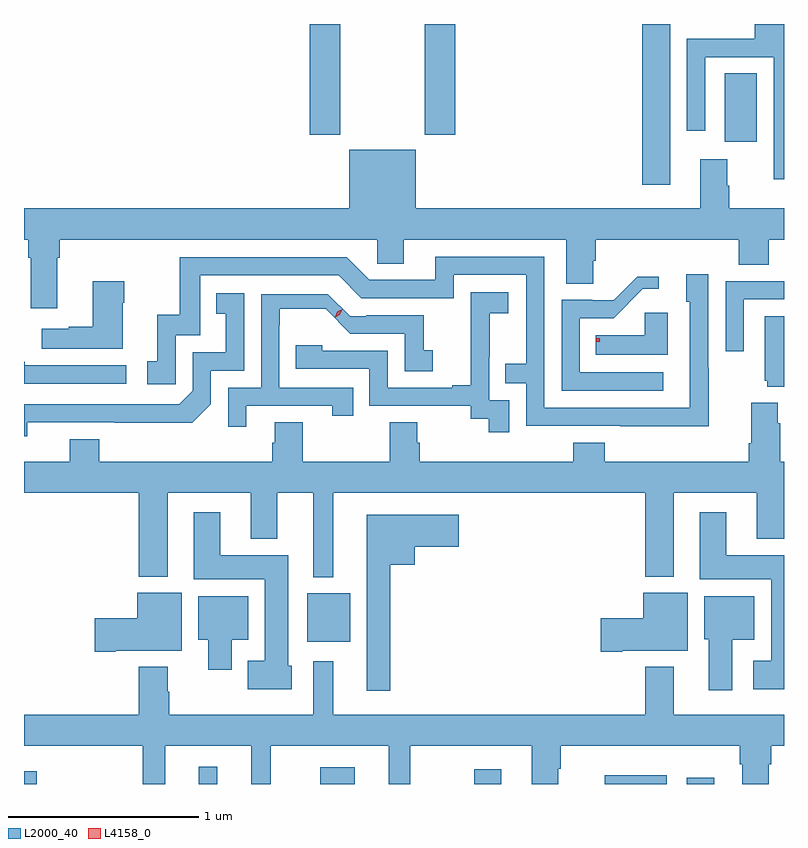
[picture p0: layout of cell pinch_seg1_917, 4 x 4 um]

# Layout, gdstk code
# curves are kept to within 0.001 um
import gdstk
lib = gdstk.Library(unit=1e-6, precision=1e-09)
def R(c, l, rs):  # rectangles x0, y0, x1, y1
    for r in rs: c.add(gdstk.rectangle(r[:2], r[2:], *l))
def P(c, l, *ps):  # polygons
    for p in ps: c.add(gdstk.Polygon(p, *l))
L2000_40 = (2000, 40)
L4158_0 = (4158, 0)

pinch_seg1_917 = lib.new_cell('pinch_seg1_917')
R(pinch_seg1_917, L2000_40, [(124.356,531.551,124.422,531.619), (125.277,531.551,125.374,531.643), (125.915,531.551,126.097,531.64), (126.727,531.551,126.868,531.628), (127.413,531.551,127.738,531.598), (127.844,531.551,127.99,531.583), (125.846,532.301,126.073,532.555), (127.61,534.705,127.756,535.551), (128.045,534.93,128.212,535.292), (125.861,534.969,126.021,535.551), (126.466,534.969,126.626,535.551)])
P(pinch_seg1_917, L2000_40, [(128.356,535.551),(128.201,535.551),(128.201,535.473),(127.845,535.473),(127.845,534.99),(127.941,534.99),(127.941,535.377),(128.301,535.377),(128.301,534.734),(128.356,534.734)],
  [(127.211,534.184),(127.351,534.184),(127.351,534.306),(127.364,534.306),(127.364,534.416),(128.117,534.416),(128.117,534.283),(128.277,534.283),(128.277,534.416),(128.356,534.416),(128.356,534.58),(128.069,534.58),(128.069,534.701),(128.056,534.701),(128.056,534.838),(127.916,534.838),(127.916,534.58),(126.418,534.58),(126.418,534.889),(126.068,534.889),(126.068,534.58),(124.356,534.58),(124.356,534.416),(124.379,534.416),(124.379,534.32),(124.391,534.32),(124.391,534.054),(124.531,534.054),(124.531,534.32),(124.544,534.32),(124.544,534.416),(126.216,534.416),(126.216,534.289),(126.355,534.289),(126.355,534.416),(127.211,534.416)],
  [(127.959,533.741),(127.956,533.741),(127.956,534.235),(127.841,534.235),(127.841,534.09),(127.86,534.09),(127.86,533.532),(127.095,533.532),(127.095,534.327),(126.521,534.327),(126.521,534.204),(126.174,534.204),(126.054,534.324),(125.175,534.324),(125.175,534.022),(125.057,534.022),(125.057,533.775),(125.004,533.775),(125.004,533.655),(125.154,533.655),(125.154,533.913),(125.283,533.913),(125.283,534.228),(126.012,534.228),(126.132,534.108),(126.618,534.108),(126.618,534.231),(126.999,534.231),(126.999,533.762),(126.889,533.762),(126.889,533.661),(126.999,533.661),(126.999,533.436),(127.959,533.435)],
  [(127.72,533.718),(127.281,533.718),(127.281,534.003),(127.459,534.003),(127.613,534.157),(127.696,534.157),(127.696,534.22),(127.583,534.22),(127.46,534.096),(127.347,534.096),(127.347,534.099),(127.185,534.099),(127.185,533.622),(127.72,533.622)],
  [(128.145,534.102),(128.356,534.102),(128.356,534.198),(128.049,534.198),(128.049,533.829),(128.145,533.829)],
  [(124.876,534.083),(124.884,534.083),(124.884,534.196),(124.718,534.196),(124.718,533.957),(124.592,533.957),(124.592,533.947),(124.449,533.947),(124.449,533.843),(124.876,533.843)],
  [(126.909,533.571),(126.804,533.571),(126.804,533.801),(126.806,533.801),(126.806,534.029),(126.904,534.029),(126.904,534.139),(126.706,534.139),(126.706,533.933),(126.707,533.933),(126.707,533.65),(126.611,533.65),(126.611,533.637),(126.27,533.637),(126.27,533.832),(125.925,533.832),(125.925,533.86),(125.785,533.86),(125.785,533.736),(126.174,533.736),(126.174,533.541),(126.708,533.541),(126.708,533.473),(126.801,533.473),(126.801,533.403),(126.909,533.403)],
  [(124.374,533.454),(125.242,533.453),(125.34,533.55),(125.34,533.727),(125.514,533.727),(125.514,534.133),(125.368,534.133),(125.368,534.027),(125.417,534.027),(125.417,533.823),(125.244,533.823),(125.244,533.622),(125.172,533.55),(124.356,533.55),(124.356,533.381),(124.374,533.381)],
  [(125.527,533.541),(125.978,533.541),(125.978,533.49),(126.089,533.49),(126.089,533.637),(125.7,533.637),(125.7,533.966),(125.703,533.966),(125.703,534.053),(125.944,534.053),(126.074,533.922),(126.36,533.922),(126.36,533.724),(126.508,533.724),(126.508,533.833),(126.459,533.833),(126.459,534.018),(126.157,534.018),(126.157,534.012),(126.072,534.012),(125.955,534.129),(125.604,534.129),(125.604,533.637),(125.43,533.637),(125.43,533.43),(125.527,533.43)],
  [(127.744,534.031),(127.622,534.031),(127.622,533.914),(127.366,533.914),(127.366,533.81),(127.744,533.81)],
  [(128.356,534.013),(128.255,534.013),(128.255,533.673),(128.267,533.673),(128.267,533.642),(128.356,533.642)],
  [(124.894,533.754),(124.361,533.754),(124.361,533.774),(124.356,533.774),(124.356,533.658),(124.894,533.658)],
  [(125.983,533.084),(127.625,533.084),(127.625,532.643),(127.777,532.643),(127.777,533.084),(128.213,533.084),(128.213,532.841),(128.356,532.841),(128.356,533.248),(128.336,533.248),(128.336,533.45),(128.323,533.45),(128.323,533.557),(128.183,533.557),(128.183,533.344),(128.171,533.344),(128.171,533.248),(127.412,533.248),(127.412,533.347),(127.247,533.347),(127.247,533.248),(126.44,533.248),(126.44,533.346),(126.427,533.346),(126.427,533.456),(126.28,533.456),(126.28,533.248),(125.823,533.248),(125.823,533.456),(125.675,533.456),(125.675,533.346),(125.663,533.346),(125.663,533.248),(124.751,533.248),(124.751,533.365),(124.598,533.365),(124.598,533.248),(124.356,533.248),(124.356,533.084),(124.961,533.084),(124.961,532.643),(125.113,532.643),(125.113,533.084),(125.549,533.084),(125.549,532.841),(125.689,532.841),(125.689,533.084),(125.879,533.084),(125.879,532.64),(125.983,532.64)],
  [(128.356,532.756),(128.053,532.756),(128.053,532.981),(127.913,532.981),(127.913,532.628),(128.288,532.628),(128.288,532.201),(128.193,532.201),(128.193,532.049),(128.356,532.049)],
  [(125.764,532.173),(125.746,532.173),(125.746,532.756),(125.389,532.756),(125.389,532.981),(125.249,532.981),(125.249,532.628),(125.624,532.628),(125.624,532.201),(125.534,532.201),(125.534,532.049),(125.764,532.049)],
  [(126.283,532.706),(126.412,532.706),(126.412,532.799),(126.643,532.799),(126.643,532.969),(126.161,532.969),(126.161,532.041),(126.283,532.041)],
  [(124.84,532.253),(125.185,532.253),(125.185,532.558),(124.952,532.558),(124.952,532.424),(124.728,532.424),(124.728,532.246),(124.84,532.246)],
  [(127.504,532.253),(127.849,532.253),(127.849,532.558),(127.616,532.558),(127.616,532.424),(127.392,532.424),(127.392,532.246),(127.504,532.246)],
  [(128.083,532.31),(128.2,532.31),(128.2,532.54),(127.937,532.54),(127.937,532.314),(127.961,532.314),(127.961,532.044),(128.083,532.044)],
  [(125.449,532.31),(125.536,532.31),(125.536,532.54),(125.273,532.54),(125.273,532.31),(125.327,532.31),(125.327,532.152),(125.449,532.152)],
  [(125.099,531.752),(125.552,531.752),(125.552,531.551),(125.654,531.551),(125.654,531.752),(126.275,531.752),(126.275,531.551),(126.389,531.551),(126.389,531.752),(127.028,531.752),(127.028,531.551),(127.168,531.551),(127.168,531.632),(127.181,531.632),(127.181,531.752),(128.123,531.752),(128.123,531.656),(128.135,531.656),(128.135,531.551),(128.275,531.551),(128.275,531.656),(128.288,531.656),(128.288,531.752),(128.356,531.752),(128.356,531.916),(127.777,531.916),(127.777,532.168),(127.625,532.168),(127.625,531.916),(125.983,531.916),(125.983,532.198),(125.879,532.198),(125.879,531.916),(125.121,531.916),(125.121,532.037),(125.113,532.037),(125.113,532.168),(124.961,532.168),(124.961,531.916),(124.356,531.916),(124.356,531.752),(124.981,531.752),(124.981,531.551),(125.099,531.551)])
R(pinch_seg1_917, L4158_0, [(127.366,533.878,127.386,533.898)])
P(pinch_seg1_917, L4158_0, [(125.993,534.008),(125.993,534.009),(126.005,534.036),(126.03,534.049),(126.031,534.049),(126.031,534.049),(126.019,534.022),(125.994,534.008)])

lib.write_gds('pinch_seg1_917.gds')
